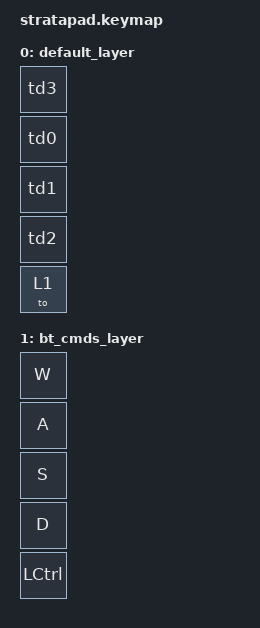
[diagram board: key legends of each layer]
#include <behaviors.dtsi>
#include <dt-bindings/zmk/keys.h>
#include <dt-bindings/zmk/bt.h>

#define DEFAULT 0
#define USE 1

#define NONE 0

/ {
    behaviors {
        td0: tap_dance_0 {
            compatible = "zmk,behavior-tap-dance";
            #binding-cells = <0>;
            tapping-term-ms = <300>;
            bindings = <&kp A>, <&bt BT_SEL 0>;
        };
        td1: tap_dance_1 {
            compatible = "zmk,behavior-tap-dance";
            #binding-cells = <0>;
            tapping-term-ms = <300>;
            bindings = <&kp S>, <&bt BT_SEL 1>;
        };
        td2: tap_dance_2 {
            compatible = "zmk,behavior-tap-dance";
            #binding-cells = <0>;
            tapping-term-ms = <300>;
            bindings = <&kp D>, <&bt BT_SEL 2>;
        };
        td3: tap_dance_3 {
            compatible = "zmk,behavior-tap-dance";
            #binding-cells = <0>;
            tapping-term-ms = <300>;
            bindings = <&kp W>, <&bt BT_CLR>;
        };

    };

    keymap {
        compatible = "zmk,keymap";

        default_layer {
            bindings = <
				&td3
				&td0
				&td1
				&td2
				&to 1
            >;
        };
	    bt_cmds_layer {
            bindings = <
				&kp W
				&kp A
				&kp S
				&kp D
				&kp LCTRL
            >;
        };
    };
};
